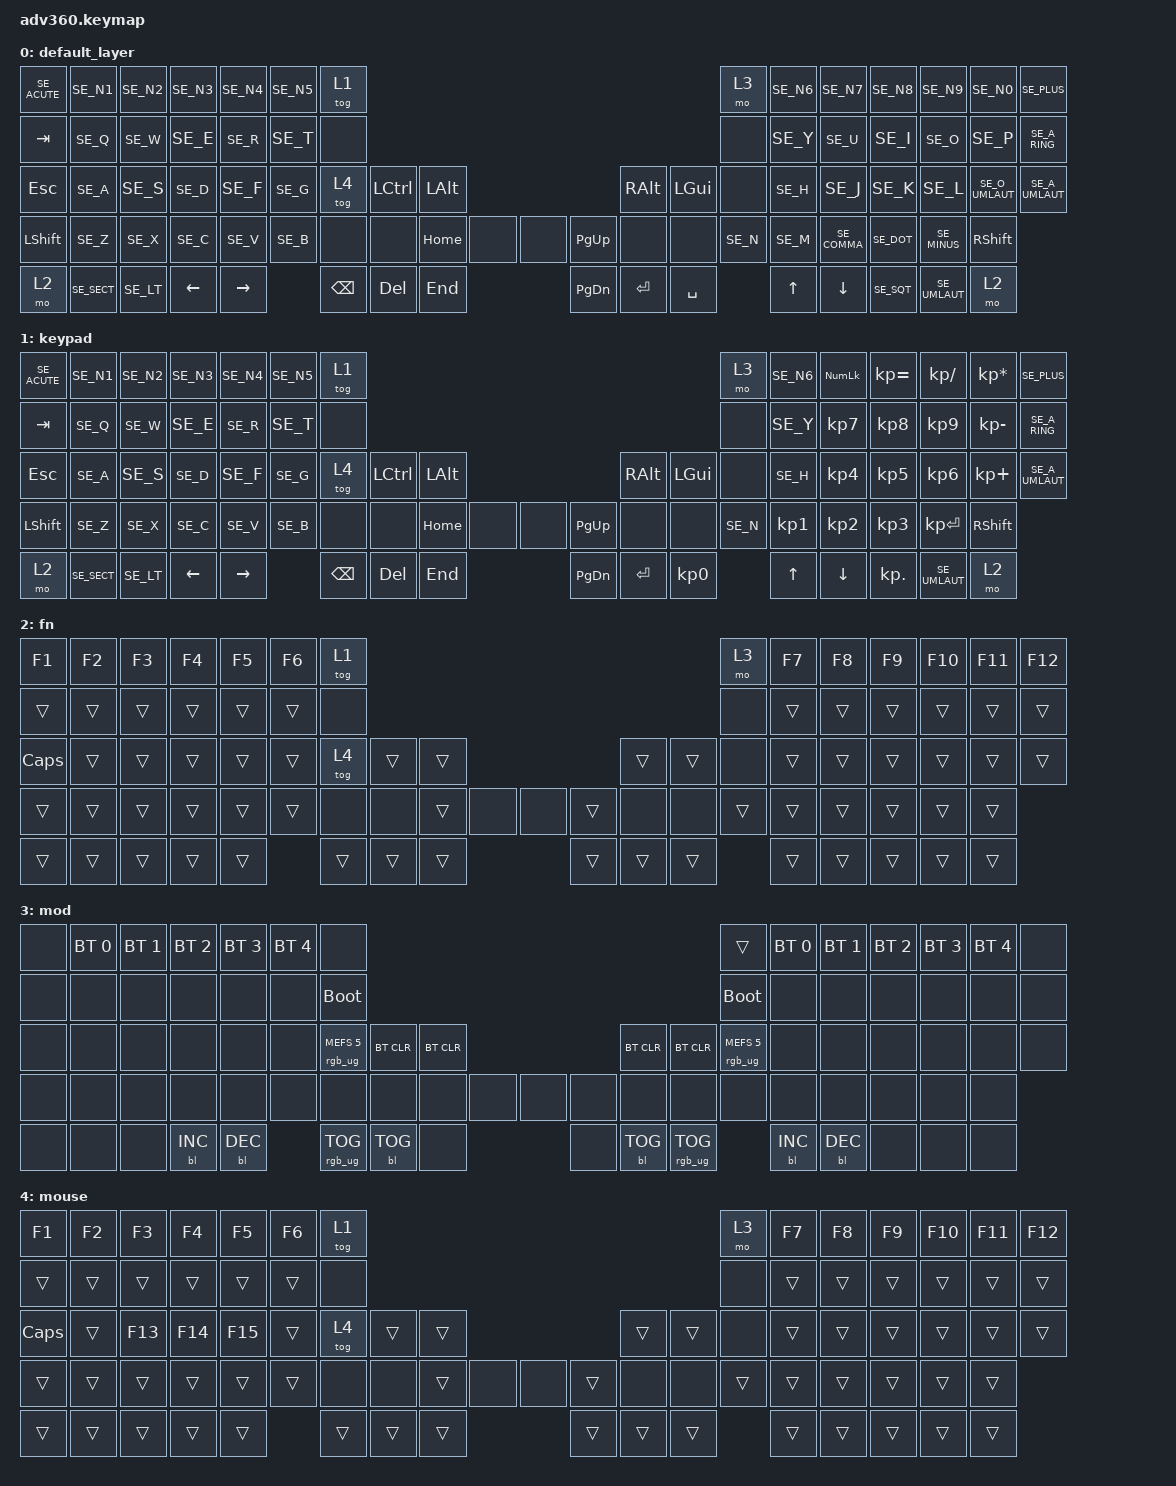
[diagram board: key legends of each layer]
#include <behaviors.dtsi>
#include <dt-bindings/zmk/keys.h>
#include <dt-bindings/zmk/bt.h>
#include <dt-bindings/zmk/rgb.h>
#include <dt-bindings/zmk/backlight.h>
#include "keys_sv.h"

/ {
    behaviors {
      #include "macros.dtsi"

      hm: homerow_mods {
          compatible = "zmk,behavior-hold-tap";
          label = "HOMEROW_MODS";
          #binding-cells = <2>;
          tapping-term-ms = <200>;
          quick_tap_ms = <175>;
          flavor = "tap-preferred";
          bindings = <&kp>, <&kp>;
      };
    };

  keymap {
    compatible = "zmk,keymap";

    default_layer {
      bindings = <
        &kp SE_ACUTE &kp SE_N1    &kp SE_N2   &kp SE_N3   &kp SE_N4     &kp SE_N5 &tog 1                                                                                    &mo 3 &kp SE_N6 &kp SE_N7 &kp SE_N8    &kp SE_N9   &kp SE_N0       &kp SE_PLUS
        &kp TAB      &kp SE_Q     &kp SE_W    &kp SE_E    &kp SE_R      &kp SE_T  &none                                                                                     &none &kp SE_Y  &kp SE_U  &kp SE_I     &kp SE_O    &kp SE_P        &kp SE_A_RING
        &kp ESC      &kp SE_A     &kp SE_S    &kp SE_D    &kp SE_F      &kp SE_G  &tog 4                 &kp LCTRL &kp LALT             &kp RALT  &kp LGUI                   &none &kp SE_H  &kp SE_J  &kp SE_K     &kp SE_L    &kp SE_O_UMLAUT &kp SE_A_UMLAUT
        &kp LSHFT    &kp SE_Z     &kp SE_X    &kp SE_C    &kp SE_V      &kp SE_B               &none    &none     &kp HOME &none &none &kp PG_UP &none     &none                  &kp SE_N  &kp SE_M  &kp SE_COMMA &kp SE_DOT  &kp SE_MINUS    &kp RSHFT
        &mo 2        &kp SE_SECT  &kp SE_LT   &kp LEFT    &kp RIGHT                            &kp BSPC &kp DEL   &kp END              &kp PG_DN &kp ENTER &kp SPACE                        &kp UP    &kp DOWN     &kp SE_SQT  &kp SE_UMLAUT   &mo 2
      >;
    };
    keypad {
      bindings = <
        &kp SE_ACUTE &kp SE_N1    &kp SE_N2   &kp SE_N3   &kp SE_N4     &kp SE_N5 &tog 1                                                                                     &mo 3 &kp SE_N6 &kp KP_NUM &kp KP_EQUAL &kp KP_DIVIDE &kp KP_MULTIPLY &kp SE_PLUS
        &kp TAB      &kp SE_Q     &kp SE_W    &kp SE_E    &kp SE_R      &kp SE_T  &none                                                                                     &none &kp SE_Y  &kp KP_N7  &kp KP_N8    &kp KP_N9     &kp KP_MINUS    &kp SE_A_RING
        &kp ESC      &kp SE_A     &kp SE_S    &kp SE_D    &kp SE_F      &kp SE_G  &tog 4                 &kp LCTRL &kp LALT             &kp RALT  &kp LGUI                   &none &kp SE_H  &kp KP_N4  &kp KP_N5    &kp KP_N6     &kp KP_PLUS     &kp SE_A_UMLAUT
        &kp LSHFT    &kp SE_Z     &kp SE_X    &kp SE_C    &kp SE_V      &kp SE_B               &none    &none     &kp HOME &none &none &kp PG_UP &none     &none                  &kp SE_N  &kp KP_N1  &kp KP_N2    &kp KP_N3     &kp KP_ENTER    &kp RSHFT
        &mo 2        &kp SE_SECT  &kp SE_LT   &kp LEFT    &kp RIGHT                            &kp BSPC &kp DEL   &kp END              &kp PG_DN &kp ENTER &kp KP_N0                        &kp UP     &kp DOWN     &kp KP_DOT    &kp SE_UMLAUT   &mo 2
      >;
    };
    fn {
      bindings = <
        &kp F1   &kp F2 &kp F3 &kp F4 &kp F5 &kp F6  &tog 1                                                       &mo 3 &kp F7 &kp F8 &kp F9 &kp F10 &kp F11 &kp F12
        &trans   &trans &trans &trans &trans &trans  &none                                                       &none &trans &trans &trans &trans  &trans  &trans
        &kp CAPS &trans &trans &trans &trans &trans  &tog 4        &trans &trans             &trans &trans        &none &trans &trans &trans &trans  &trans  &trans
        &trans   &trans &trans &trans &trans &trans        &none  &none  &trans &none &none &trans &none  &none        &trans &trans &trans &trans  &trans  &trans
        &trans   &trans &trans &trans &trans               &trans &trans &trans             &trans &trans &trans              &trans &trans &trans  &trans  &trans
      >;
    };
    mod {
      bindings = <
        &none &bt BT_SEL 0 &bt BT_SEL 1 &bt BT_SEL 2 &bt BT_SEL 3 &bt BT_SEL 4 &none                                                                                                          &trans                 &bt BT_SEL 0 &bt BT_SEL 1 &bt BT_SEL 2 &bt BT_SEL 3 &bt BT_SEL 4 &none
        &none &none        &none        &none        &none        &none        &bootloader                                                                                                    &bootloader            &none        &none        &none        &none        &none        &none
        &none &none        &none        &none        &none        &none        &rgb_ug RGB_MEFS_CMD 5                 &bt BT_CLR &bt BT_CLR             &bt BT_CLR &bt BT_CLR                 &rgb_ug RGB_MEFS_CMD 5 &none        &none        &none        &none        &none        &none
        &none &none        &none        &none        &none        &none                               &none           &none      &none      &none &none &none      &none      &none                                  &none        &none        &none        &none        &none        &none
        &none &none        &none        &bl BL_INC   &bl BL_DEC                                       &rgb_ug RGB_TOG &bl BL_TOG &none                  &none      &bl BL_TOG &rgb_ug RGB_TOG                                     &bl BL_INC   &bl BL_DEC   &none        &none        &none
      >;
    };
    mouse {
      bindings = <
        &kp F1   &kp F2 &kp F3  &kp F4  &kp F5  &kp F6  &tog 1                                                       &mo 3 &kp F7 &kp F8 &kp F9 &kp F10 &kp F11 &kp F12
        &trans   &trans &trans  &trans  &trans  &trans  &none                                                       &none &trans &trans &trans &trans  &trans  &trans
        &kp CAPS &trans &kp F13 &kp F14 &kp F15 &trans  &tog 4        &trans &trans             &trans &trans        &none &trans &trans &trans &trans  &trans  &trans
        &trans   &trans &trans  &trans  &trans  &trans        &none  &none  &trans &none &none &trans &none  &none        &trans &trans &trans &trans  &trans  &trans
        &trans   &trans &trans  &trans  &trans                &trans &trans &trans             &trans &trans &trans              &trans &trans &trans  &trans  &trans
      >;
    };
  };
};
